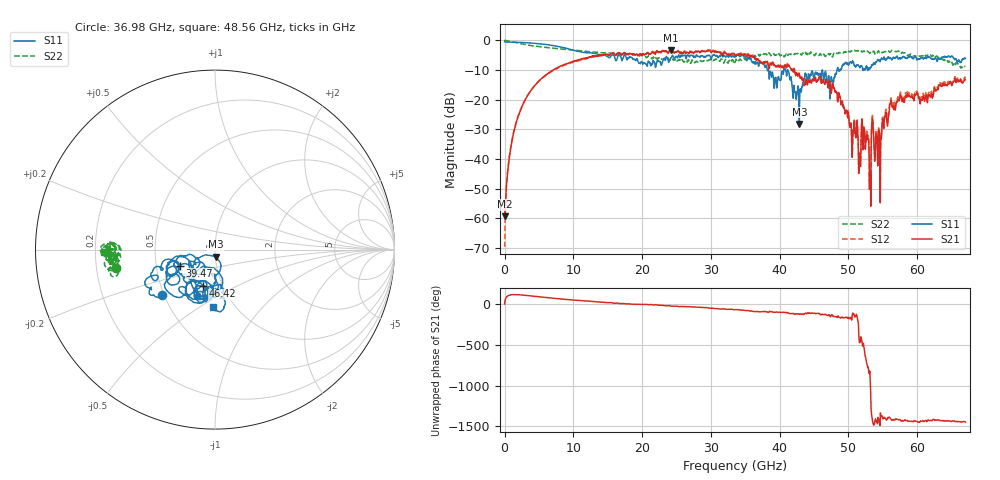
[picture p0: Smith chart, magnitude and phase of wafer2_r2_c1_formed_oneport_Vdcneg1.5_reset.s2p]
!Keysight Technologies,N5227A,US51270248,A.10.65.08
!Date: Tuesday, June 11, 2024 08:09:41
!Correction: S11(Full 2 Port(1,4))
!S41(Full 2 Port(1,4))
!S14(Full 2 Port(1,4))
!S44(Full 2 Port(1,4))
!S2P File: Measurements: S11, S41, S14, S44:
# Hz S  dB  R 50
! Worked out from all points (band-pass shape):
!   3201 points, 10 MHz to 67 GHz, reference 50 ohm
!   highest |S21| = -3.26 dB at 24.19 GHz (marker M1); lowest = -59.4 dB at 30.93 MHz (marker M2)
!   |S21| within 3 dB of the highest: 11.26 GHz to 36.4 GHz (25.14 GHz wide, 105 % of centre); 36.43623 GHz to 36.56169 GHz (125.5 MHz wide, 0.344 % of centre)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
!   lowest |S11| = -28.2 dB at 42.86 GHz (marker M3), VSWR 1.08, Z = 50.2 - j3.9 ohm
!   |S11| at or under -10 dB: 38.36 GHz to 40.59 GHz (2.231 GHz wide, 5.65 % of centre); 41.17 GHz to 46.18 GHz (5.018 GHz wide, 11.5 % of centre); 46.2 GHz to 48.35 GHz (2.155 GHz wide, 4.56 % of centre)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
!   |S22| runs from -9.3 to 0.0 dB; largest |S21 - S12| = 0.054
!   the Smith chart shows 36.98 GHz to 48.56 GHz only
!   S11 on the Smith chart (normalised r, x): 36.98 GHz: 0.49, -0.29; 39.47 GHz: 0.66, -0.12; 46.42 GHz: 0.81, -0.35; 48.56 GHz: 0.80, -0.57
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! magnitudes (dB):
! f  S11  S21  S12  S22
! 10 MHz  -0.5  -58.6  -69.1  -0.2
! 30.93 MHz  -0.5  -59.4  -69.5  0.0
! 868.3 MHz  -0.6  -36.8  -36.5  -0.3
! 2.711 GHz  -0.7  -21.4  -21.3  -1.3
! 11.19 GHz  -3.9  -6.3  -6.6  -3.5
! 22.35 GHz  -7.0  -3.9  -3.9  -5.9
! 24.19 GHz  -5.9  -3.3  -3.3  -6.3
! 33.51 GHz  -5.6  -5.1  -5.0  -7.3
! 36.98 GHz  -8.3  -6.8  -6.9  -5.0
! 39.47 GHz  -13.4  -8.8  -8.8  -4.9
! 40.96 GHz  -11.1  -9.0  -8.9  -4.6
! 42.86 GHz  -28.2  -11.5  -11.6  -4.5
! 44.68 GHz  -10.3  -13.8  -13.5  -4.5
! 46.42 GHz  -13.4  -14.2  -14.0  -4.6
! 48.56 GHz  -9.8  -17.8  -17.7  -4.2
! 51.47 GHz  -8.5  -42.1  -40.7  -3.6
! 52.56 GHz  -9.0  -33.9  -32.0  -4.0
! 52.97 GHz  -9.3  -35.4  -34.6  -4.0
! 53.66 GHz  -7.9  -33.3  -32.0  -3.6
! 54.5 GHz  -6.6  -31.3  -30.9  -4.1
! 55.84 GHz  -5.7  -25.5  -24.7  -3.5
! 67 GHz  -6.1  -13.3  -12.7  -8.7
